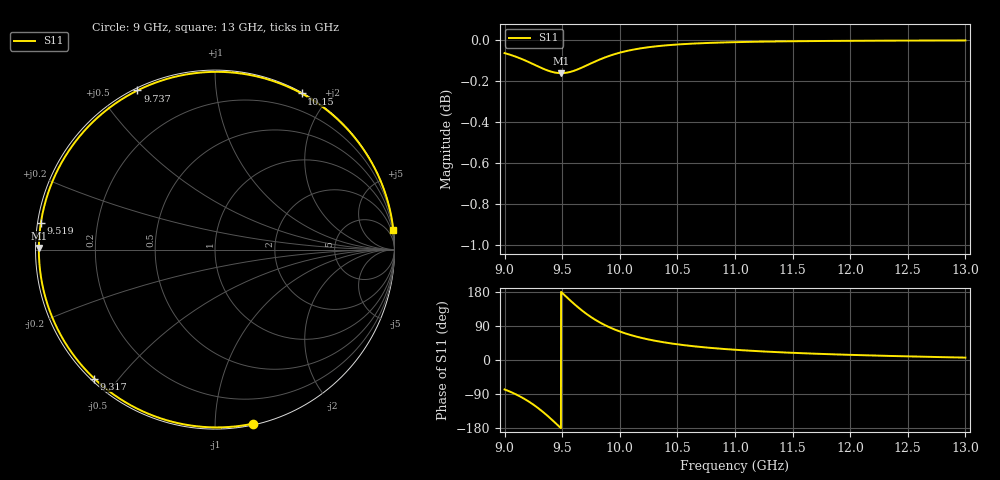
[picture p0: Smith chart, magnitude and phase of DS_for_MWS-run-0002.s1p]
! TOUCHSTONE file generated by CST DESIGN STUDIO
! Date and time: Tue Feb  4 17:19:07 2025
! Project name: C:\Work\MatlabApps\UnitCellOptimizationMatlab\CST\unitcell.cst
! Tree item: Tasks\Sweep1\SPara1\S-Parameters
! Header version: 2024
! Port assignment regex: !\s*Touchstone port\s*([0-9]+)\s*=\s*(CST MWS port|CST DES external port|CST DES block port)\s*(.+)\s* \(\"(.*)\"\)(\s*mode\s*([0-9]+))?.*
! Touchstone port assignment:
! Touchstone port 1 = CST DES external port 1 ("")
# GHz S MA R 50
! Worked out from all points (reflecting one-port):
!   4001 points, 9 GHz to 13 GHz, reference 50 ohm
!   lowest |S11| = -0.2 dB at 9.491 GHz (marker M1), VSWR 106.68, Z = 0.469 + j0.226 ohm
!   phase of S11 starts at -78 deg and turns -276 deg over the sweep
!   S11 on the Smith chart (normalised r, x): 9 GHz: 0.01, -1.24; 9.317 GHz: 0.01, -0.43; 9.519 GHz: 0.01, +0.07; 9.737 GHz: 0.01, +0.62; 10.15 GHz: 0.01, +1.70; 13 GHz: 0, +18
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9  0.9925 -77.7
9.081  0.9909 -88.2
9.181  0.9883 -104.3
9.252  0.9863 -118.3
9.317  0.9844 -133.1
9.363  0.9831 -144.8
9.412  0.9821 -158.0
9.452  0.9816 -169.3
9.491  0.9814 179.5
9.5  0.9814 176.9
9.519  0.9815 171.4
9.572  0.9821 156.5
9.632  0.9834 140.5
9.684  0.9849 127.7
9.737  0.9864 116.0
9.791  0.988 105.4
9.85  0.9896 95.3
9.924  0.9913 84.5
10  0.9927 75.2
10.153  0.9949 61.0
10.311  0.9962 50.5
10.5  0.9973 41.4
10.722  0.998 33.8
11  0.9986 27.0
11.5  0.9991 18.9
12  0.9994 13.6
12.5  0.9995 9.6
13  0.9995 6.3
